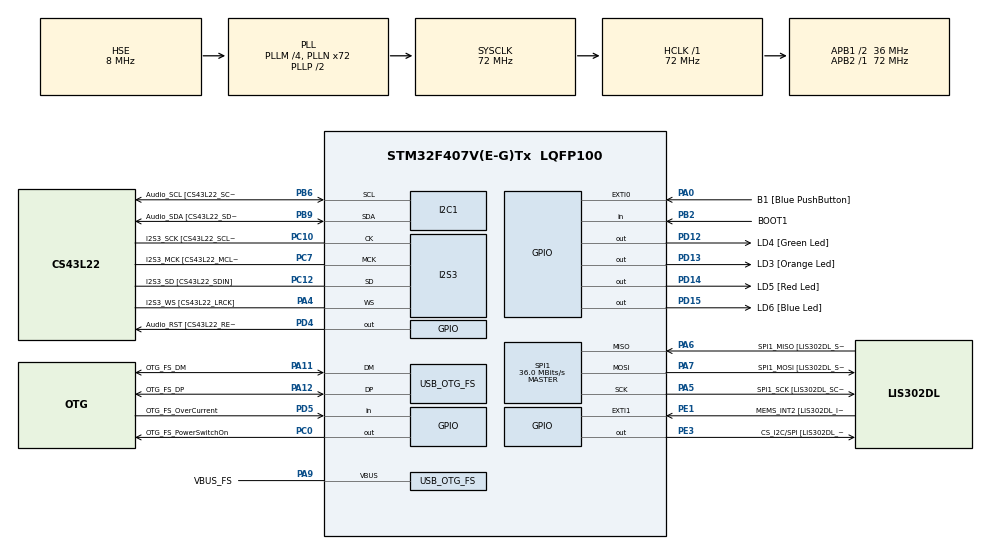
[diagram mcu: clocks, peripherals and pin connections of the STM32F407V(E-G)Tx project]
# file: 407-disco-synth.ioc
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Dma.Request0=SPI3_TX
Dma.SPI3_TX.0.Direction=DMA_MEMORY_TO_PERIPH
Dma.SPI3_TX.0.FIFOMode=DMA_FIFOMODE_DISABLE
Dma.SPI3_TX.0.Instance=DMA1_Stream5
Dma.SPI3_TX.0.MemDataAlignment=DMA_MDATAALIGN_HALFWORD
Dma.SPI3_TX.0.MemInc=DMA_MINC_ENABLE
Dma.SPI3_TX.0.Mode=DMA_CIRCULAR
Dma.SPI3_TX.0.PeriphDataAlignment=DMA_PDATAALIGN_HALFWORD
Dma.SPI3_TX.0.PeriphInc=DMA_PINC_DISABLE
Dma.SPI3_TX.0.Priority=DMA_PRIORITY_HIGH
I2S3.AudioFreq=I2S_AUDIOFREQ_48K
I2S3.AudioFreq-Half_Duplex_Master=I2S_AUDIOFREQ_96K
I2S3.ErrorAudioFreq=0.09 %
I2S3.ErrorAudioFreq-Half_Duplex_Master=0.8 %
I2S3.FullDuplexMode=I2S_FULLDUPLEXMODE_DISABLE
I2S3.Instance=SPI$Index
I2S3.RealAudioFreq=48.046 KHz
I2S3.RealAudioFreq-Half_Duplex_Master=96.774 KHz
I2S3.VirtualMode=I2S_MODE_MASTER
Mcu.Family=STM32F4
Mcu.Name=STM32F407V(E-G)Tx
Mcu.Package=LQFP100
NVIC.DMA1_Stream5_IRQn=true\:0\:0\:false\:false\:true\:false\:true
NVIC.OTG_FS_IRQn=true\:0\:0\:false\:false\:true\:true\:true
NVIC.PriorityGroup=NVIC_PRIORITYGROUP_0
PA0-WKUP.GPIO_Label=B1 [Blue PushButton]
PA0-WKUP.GPIO_ModeDefaultEXTI=GPIO_MODE_EVT_RISING
PA0-WKUP.GPIO_PuPd=GPIO_NOPULL
PA0-WKUP.Signal=GPXTI0
PA10.GPIO_Label=OTG_FS_ID
PA10.GPIO_Mode=GPIO_MODE_AF_PP
PA10.GPIO_PuPd=GPIO_NOPULL
PA10.GPIO_Speed=GPIO_SPEED_FREQ_LOW
PA10.Signal=USB_OTG_FS_ID
PA11.GPIO_Label=OTG_FS_DM
PA11.GPIO_Mode=GPIO_MODE_AF_PP
PA11.GPIO_PuPd=GPIO_NOPULL
PA11.GPIO_Speed=GPIO_SPEED_FREQ_LOW
PA11.Mode=Host_Only
PA11.Signal=USB_OTG_FS_DM
PA12.GPIO_Label=OTG_FS_DP
PA12.GPIO_Mode=GPIO_MODE_AF_PP
PA12.GPIO_PuPd=GPIO_NOPULL
PA12.GPIO_Speed=GPIO_SPEED_FREQ_LOW
PA12.Mode=Host_Only
PA12.Signal=USB_OTG_FS_DP
PA13.GPIO_Label=SWDIO
PA13.Mode=Serial_Wire
PA13.Signal=SYS_JTMS-SWDIO
PA14.GPIO_Label=SWCLK
PA14.Mode=Serial_Wire
PA14.Signal=SYS_JTCK-SWCLK
PA4.GPIO_Label=I2S3_WS [CS43L22_LRCK]
PA4.GPIO_Mode=GPIO_MODE_AF_PP
PA4.GPIO_PuPd=GPIO_NOPULL
PA4.GPIO_Speed=GPIO_SPEED_FREQ_LOW
PA4.Mode=Half_Duplex_Master
PA4.Signal=I2S3_WS
PA5.GPIO_Label=SPI1_SCK [LIS302DL_SCL/SPC]
PA5.GPIO_Mode=GPIO_MODE_AF_PP
PA5.GPIO_PuPd=GPIO_NOPULL
PA5.GPIO_Speed=GPIO_SPEED_FREQ_LOW
PA5.Mode=Full_Duplex_Master
PA5.Signal=SPI1_SCK
PA6.GPIO_Label=SPI1_MISO [LIS302DL_SDO]
PA6.GPIO_Mode=GPIO_MODE_AF_PP
PA6.GPIO_PuPd=GPIO_NOPULL
PA6.GPIO_Speed=GPIO_SPEED_FREQ_LOW
PA6.Mode=Full_Duplex_Master
PA6.Signal=SPI1_MISO
PA7.GPIO_Label=SPI1_MOSI [LIS302DL_SDA/SDI/SDO]
PA7.GPIO_Mode=GPIO_MODE_AF_PP
PA7.GPIO_PuPd=GPIO_NOPULL
PA7.GPIO_Speed=GPIO_SPEED_FREQ_LOW
PA7.Mode=Full_Duplex_Master
PA7.Signal=SPI1_MOSI
PA9.GPIO_Label=VBUS_FS
PA9.GPIO_Mode=GPIO_MODE_INPUT
PA9.GPIO_PuPd=GPIO_NOPULL
PA9.Mode=Activate_VBUS
PA9.Signal=USB_OTG_FS_VBUS
PB10.GPIO_Label=CLK_IN [MP45DT02_CLK]
PB10.GPIO_Mode=GPIO_MODE_AF_PP
PB10.GPIO_PuPd=GPIO_NOPULL
PB10.GPIO_Speed=GPIO_SPEED_FREQ_LOW
PB10.Signal=I2S2_CK
PB2.GPIO_Label=BOOT1
PB2.GPIO_Mode=GPIO_MODE_INPUT
PB2.GPIO_PuPd=GPIO_NOPULL
PB2.Signal=GPIO_Input
PB3.GPIO_Label=SWO
PB3.Signal=SYS_JTDO-SWO
PB6.GPIO_Label=Audio_SCL [CS43L22_SCL]
PB6.GPIO_Mode=GPIO_MODE_AF_OD
PB6.GPIO_Pu=GPIO_PULLUP
PB6.GPIO_PuPd=GPIO_NOPULL
PB6.GPIO_Speed=GPIO_SPEED_FREQ_LOW
PB6.Mode=I2C
PB6.Signal=I2C1_SCL
PB9.GPIO_Label=Audio_SDA [CS43L22_SDA]
PB9.GPIO_Mode=GPIO_MODE_AF_OD
PB9.GPIO_Pu=GPIO_PULLUP
PB9.GPIO_PuPd=GPIO_NOPULL
PB9.GPIO_Speed=GPIO_SPEED_FREQ_LOW
PB9.Mode=I2C
PB9.Signal=I2C1_SDA
PC0.GPIO_Label=OTG_FS_PowerSwitchOn
PC0.GPIO_PuPd=GPIO_NOPULL
PC0.GPIO_Speed=GPIO_SPEED_FREQ_LOW
PC0.PinState=GPIO_PIN_SET
PC0.Signal=GPIO_Output
PC10.GPIO_Label=I2S3_SCK [CS43L22_SCLK]
PC10.GPIO_Mode=GPIO_MODE_AF_PP
PC10.GPIO_PuPd=GPIO_NOPULL
PC10.GPIO_Speed=GPIO_SPEED_FREQ_LOW
PC10.Mode=Half_Duplex_Master
PC10.Signal=I2S3_CK
PC12.GPIO_Label=I2S3_SD [CS43L22_SDIN]
PC12.GPIO_Mode=GPIO_MODE_AF_PP
PC12.GPIO_PuPd=GPIO_NOPULL
PC12.GPIO_Speed=GPIO_SPEED_FREQ_LOW
PC12.Mode=Half_Duplex_Master
PC12.Signal=I2S3_SD
PC14-OSC32_IN.GPIO_Label=PC14-OSC32_IN
PC14-OSC32_IN.Mode=LSE-External-Oscillator
PC14-OSC32_IN.Signal=RCC_OSC32_IN
PC15-OSC32_OUT.GPIO_Label=PC15-OSC32_OUT
PC15-OSC32_OUT.Mode=LSE-External-Oscillator
PC15-OSC32_OUT.Signal=RCC_OSC32_OUT
PC3.GPIO_Label=PDM_OUT [MP45DT02_DOUT]
PC3.GPIO_Mode=GPIO_MODE_AF_PP
PC3.GPIO_PuPd=GPIO_NOPULL
PC3.GPIO_Speed=GPIO_SPEED_FREQ_LOW
PC3.Signal=I2S2_SD
PC7.GPIO_Label=I2S3_MCK [CS43L22_MCLK]
PC7.GPIO_Mode=GPIO_MODE_AF_PP
PC7.GPIO_PuPd=GPIO_NOPULL
PC7.GPIO_Speed=GPIO_SPEED_FREQ_LOW
PC7.Mode=Master_Clock_Activated
PC7.Signal=I2S3_MCK
PD12.GPIO_Label=LD4 [Green Led]
PD12.GPIO_PuPd=GPIO_NOPULL
PD12.GPIO_Speed=GPIO_SPEED_FREQ_LOW
PD12.Signal=GPIO_Output
PD13.GPIO_Label=LD3 [Orange Led]
PD13.GPIO_PuPd=GPIO_NOPULL
PD13.GPIO_Speed=GPIO_SPEED_FREQ_LOW
PD13.Signal=GPIO_Output
PD14.GPIO_Label=LD5 [Red Led]
PD14.GPIO_PuPd=GPIO_NOPULL
PD14.GPIO_Speed=GPIO_SPEED_FREQ_LOW
PD14.Signal=GPIO_Output
PD15.GPIO_Label=LD6 [Blue Led]
PD15.GPIO_PuPd=GPIO_NOPULL
PD15.GPIO_Speed=GPIO_SPEED_FREQ_LOW
PD15.Signal=GPIO_Output
PD4.GPIO_Label=Audio_RST [CS43L22_RESET]
PD4.GPIO_PuPd=GPIO_NOPULL
PD4.GPIO_Speed=GPIO_SPEED_FREQ_LOW
PD4.Signal=GPIO_Output
PD5.GPIO_Label=OTG_FS_OverCurrent
PD5.GPIO_Mode=GPIO_MODE_INPUT
PD5.GPIO_PuPd=GPIO_NOPULL
PD5.Signal=GPIO_Input
PE1.GPIO_Label=MEMS_INT2 [LIS302DL_INT2]
PE1.GPIO_ModeDefaultEXTI=GPIO_MODE_EVT_RISING
PE1.GPIO_PuPd=GPIO_NOPULL
PE1.Signal=GPXTI1
PE3.GPIO_Label=CS_I2C/SPI [LIS302DL_CS_I2C/SPI]
PE3.GPIO_PuPd=GPIO_NOPULL
PE3.GPIO_Speed=GPIO_SPEED_FREQ_LOW
PE3.Signal=GPIO_Output
PH0-OSC_IN.GPIO_Label=PH0-OSC_IN
PH0-OSC_IN.Mode=HSE-External-Oscillator
PH0-OSC_IN.Signal=RCC_OSC_IN
PH1-OSC_OUT.GPIO_Label=PH1-OSC_OUT
PH1-OSC_OUT.Mode=HSE-External-Oscillator
PH1-OSC_OUT.Signal=RCC_OSC_OUT
ProjectManager.HeapSize=0x200
ProjectManager.StackSize=0x400
ProjectManager.TargetToolchain=STM32CubeIDE
RCC.48MHZClocksFreq_Value=48000000
RCC.AHBFreq_Value=72000000
RCC.APB1CLKDivider=RCC_HCLK_DIV2
RCC.APB1Freq_Value=36000000
RCC.APB1TimFreq_Value=72000000
RCC.APB2Freq_Value=72000000
RCC.APB2TimFreq_Value=72000000
RCC.CortexFreq_Value=72000000
RCC.HCLKFreq_Value=72000000
RCC.HSE_VALUE=8000000
RCC.HSI_VALUE=16000000
RCC.PLLI2SN=123
RCC.PLLM=4
RCC.PLLN=72
RCC.PLLQ=3
RCC.SYSCLKFreq_VALUE=72000000
RCC.SYSCLKSource=RCC_SYSCLKSOURCE_PLLCLK
RCC.VCOOutputFreq_Value=144000000
SPI1.BaudRatePrescaler-Full_Duplex_Master=SPI_BAUDRATEPRESCALER_2
SPI1.CalculateBaudRate=36.0 MBits/s
SPI1.CalculateBaudRate-Full_Duplex_Master=42.0 MBits/s
SPI1.Direction=SPI_DIRECTION_2LINES
SPI1.Mode=SPI_MODE_MASTER
SPI1.Mode-Full_Duplex_Master=SPI_MODE_MASTER
SPI1.VirtualType=VM_MASTER
USB_HOST.BSP.number=1
USB_HOST.USBH_HandleTypeDef-CDC_FS=hUsbHostFS
USB_HOST.VirtualModeFS=Cdc
USB_HOST0.BSP.STBoard=false
USB_HOST0.BSP.api=Unknown
USB_HOST0.BSP.i2caddr=0
USB_HOST0.BSP.i2creg=0
USB_HOST0.BSP.instance=PC0
USB_HOST0.BSP.ip=GPIO
USB_HOST0.BSP.mode=Output
USB_HOST0.BSP.name=Drive_VBUS_FS
USB_HOST0.BSP.solution=PC0
USB_OTG_FS.VirtualMode=Host_Only
USB_OTG_FS.phy_itface=HCD_PHY_EMBEDDED
VP_USB_HOST_VS_USB_HOST_CDC_FS.Mode=CDC_FS
board=STM32F407G-DISC1

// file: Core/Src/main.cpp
/* USER CODE BEGIN Header */
/**
  ******************************************************************************
  * @file           : main.c
  * @brief          : Main program body
  ******************************************************************************
  * @attention
  *
  * Copyright (c) 2022 STMicroelectronics.
  * All rights reserved.
  *
  * This software is licensed under terms that can be found in the LICENSE file
  * in the root directory of this software component.
  * If no LICENSE file comes with this software, it is provided AS-IS.
  *
  ******************************************************************************
  */
/* USER CODE END Header */
#include "main.h"
#include "usb_host.h"

/* USER CODE BEGIN Includes */
#include "Codec.h"
#include "Synth.h"
/* USER CODE END Includes */

I2C_HandleTypeDef hi2c1;

I2S_HandleTypeDef hi2s3;
DMA_HandleTypeDef hdma_spi3_tx;

SPI_HandleTypeDef hspi1;

void SystemClock_Config(void);
static void MX_GPIO_Init(void);
static void MX_I2C1_Init(void);
static void MX_I2S3_Init(void);
static void MX_SPI1_Init(void);
static void MX_DMA_Init(void);
void MX_USB_HOST_Process(void);

/* USER CODE BEGIN PFP */

//END CODEC CLASS
/* USER CODE END PFP */

/* USER CODE BEGIN 0 */

//CODEC CLASS
class Codec {
public:
	Codec();
	virtual ~Codec();

	uint8_t init();
private:
	uint8_t write(uint8_t reg, uint8_t val);
};

Codec::Codec() {
	// TODO Auto-generated constructor stub

}

Codec::~Codec() {
	// TODO Auto-generated destructor stub
}

uint8_t Codec::init(){
	uint8_t status = 0;
	HAL_GPIO_WritePin(Audio_RST_GPIO_Port, Audio_RST_Pin, GPIO_PIN_SET);
	status += write(0x04, 0xaf);
	status += write(0x06, 0x07);
	status += write(0x02, 0x9e);

	return status;
}

uint8_t Codec::write(uint8_t reg, uint8_t val){
	HAL_StatusTypeDef status = HAL_OK;

	status = HAL_I2C_Mem_Write(&hi2c1, AUDIO_I2C_ADDR, reg, 1, &val, sizeof(val), HAL_MAX_DELAY);
	if (status != HAL_OK)
		return 1;
	return 0;
}

Codec codec;
Synth synth;

int16_t audiobuff[BUFF_LEN];

void make_sound(uint16_t start_index){
	for (uint16_t i = 0; i < BUFF_LEN_DIV2; i++){
		float signal = synth.calculate_oscillator();
		audiobuff[start_index + i] = (int16_t)signal;
		audiobuff[start_index + i + 1] = (int16_t)signal;
	}
}

void HAL_I2S_TxHalfCpltCallback(I2S_HandleTypeDef *hi2s)
{
	make_sound(0);
}

void HAL_I2S_TxCpltCallback(I2S_HandleTypeDef *hi2s)
{
	make_sound(BUFF_LEN_DIV2);
}

/* USER CODE END 0 */

int main(void)
{
  /* USER CODE BEGIN 1 */
	synth.pitch = 220.0f;
  /* USER CODE END 1 */

  /* MCU Configuration--------------------------------------------------------*/

  /* Reset of all peripherals, Initializes the Flash interface and the Systick. */
  HAL_Init();

  /* Configure the system clock */
  SystemClock_Config();

  /* Initialize all configured peripherals */
  MX_GPIO_Init();
  MX_I2C1_Init();
  MX_I2S3_Init();
  MX_SPI1_Init();
  MX_DMA_Init();
  MX_USB_HOST_Init();
  /* USER CODE BEGIN 2 */
  uint8_t status = codec.init();
  if(status != 0){
	  return HAL_ERROR;
  }
  HAL_I2S_Transmit_DMA(&hi2s3, (uint16_t *)audiobuff, BUFF_LEN);
  /* USER CODE END 2 */

  /* Infinite loop */
  while (1)
  {
    MX_USB_HOST_Process();
	HAL_GPIO_TogglePin (GPIOD, GPIO_PIN_13);
	HAL_Delay (100);

  }
}

void SystemClock_Config(void)
{
  RCC_OscInitTypeDef RCC_OscInitStruct = {0};
  RCC_ClkInitTypeDef RCC_ClkInitStruct = {0};

  /** Configure the main internal regulator output voltage
  */
  __HAL_RCC_PWR_CLK_ENABLE();
  __HAL_PWR_VOLTAGESCALING_CONFIG(PWR_REGULATOR_VOLTAGE_SCALE1);
  /** Initializes the RCC Oscillators according to the specified parameters
  * in the RCC_OscInitTypeDef structure.
  */
  RCC_OscInitStruct.OscillatorType = RCC_OSCILLATORTYPE_HSE;
  RCC_OscInitStruct.HSEState = RCC_HSE_ON;
  RCC_OscInitStruct.PLL.PLLState = RCC_PLL_ON;
  RCC_OscInitStruct.PLL.PLLSource = RCC_PLLSOURCE_HSE;
  RCC_OscInitStruct.PLL.PLLM = 4;
  RCC_OscInitStruct.PLL.PLLN = 72;
  RCC_OscInitStruct.PLL.PLLP = RCC_PLLP_DIV2;
  RCC_OscInitStruct.PLL.PLLQ = 3;
  if (HAL_RCC_OscConfig(&RCC_OscInitStruct) != HAL_OK)
  {
    Error_Handler();
  }
  /** Initializes the CPU, AHB and APB buses clocks
  */
  RCC_ClkInitStruct.ClockType = RCC_CLOCKTYPE_HCLK|RCC_CLOCKTYPE_SYSCLK
                              |RCC_CLOCKTYPE_PCLK1|RCC_CLOCKTYPE_PCLK2;
  RCC_ClkInitStruct.SYSCLKSource = RCC_SYSCLKSOURCE_PLLCLK;
  RCC_ClkInitStruct.AHBCLKDivider = RCC_SYSCLK_DIV1;
  RCC_ClkInitStruct.APB1CLKDivider = RCC_HCLK_DIV2;
  RCC_ClkInitStruct.APB2CLKDivider = RCC_HCLK_DIV1;

  if (HAL_RCC_ClockConfig(&RCC_ClkInitStruct, FLASH_LATENCY_2) != HAL_OK)
  {
    Error_Handler();
  }
}

static void MX_I2C1_Init(void)
{

  hi2c1.Instance = I2C1;
  hi2c1.Init.ClockSpeed = 100000;
  hi2c1.Init.DutyCycle = I2C_DUTYCYCLE_2;
  hi2c1.Init.OwnAddress1 = 0;
  hi2c1.Init.AddressingMode = I2C_ADDRESSINGMODE_7BIT;
  hi2c1.Init.DualAddressMode = I2C_DUALADDRESS_DISABLE;
  hi2c1.Init.OwnAddress2 = 0;
  hi2c1.Init.GeneralCallMode = I2C_GENERALCALL_DISABLE;
  hi2c1.Init.NoStretchMode = I2C_NOSTRETCH_DISABLE;
  if (HAL_I2C_Init(&hi2c1) != HAL_OK)
  {
    Error_Handler();
  }

}

static void MX_I2S3_Init(void)
{

  hi2s3.Instance = SPI3;
  hi2s3.Init.Mode = I2S_MODE_MASTER_TX;
  hi2s3.Init.Standard = I2S_STANDARD_PHILIPS;
  hi2s3.Init.DataFormat = I2S_DATAFORMAT_16B;
  hi2s3.Init.MCLKOutput = I2S_MCLKOUTPUT_ENABLE;
  hi2s3.Init.AudioFreq = I2S_AUDIOFREQ_48K;
  hi2s3.Init.CPOL = I2S_CPOL_LOW;
  hi2s3.Init.ClockSource = I2S_CLOCK_PLL;
  hi2s3.Init.FullDuplexMode = I2S_FULLDUPLEXMODE_DISABLE;
  if (HAL_I2S_Init(&hi2s3) != HAL_OK)
  {
    Error_Handler();
  }

}

static void MX_SPI1_Init(void)
{

  /* SPI1 parameter configuration*/
  hspi1.Instance = SPI1;
  hspi1.Init.Mode = SPI_MODE_MASTER;
  hspi1.Init.Direction = SPI_DIRECTION_2LINES;
  hspi1.Init.DataSize = SPI_DATASIZE_8BIT;
  hspi1.Init.CLKPolarity = SPI_POLARITY_LOW;
  hspi1.Init.CLKPhase = SPI_PHASE_1EDGE;
  hspi1.Init.NSS = SPI_NSS_SOFT;
  hspi1.Init.BaudRatePrescaler = SPI_BAUDRATEPRESCALER_2;
  hspi1.Init.FirstBit = SPI_FIRSTBIT_MSB;
  hspi1.Init.TIMode = SPI_TIMODE_DISABLE;
  hspi1.Init.CRCCalculation = SPI_CRCCALCULATION_DISABLE;
  hspi1.Init.CRCPolynomial = 10;
  if (HAL_SPI_Init(&hspi1) != HAL_OK)
  {
    Error_Handler();
  }

}

static void MX_DMA_Init(void)
{

  /* DMA controller clock enable */
  __HAL_RCC_DMA1_CLK_ENABLE();

  /* DMA interrupt init */
  /* DMA1_Stream5_IRQn interrupt configuration */
  HAL_NVIC_SetPriority(DMA1_Stream5_IRQn, 0, 0);
  HAL_NVIC_EnableIRQ(DMA1_Stream5_IRQn);

}

static void MX_GPIO_Init(void)
{
  GPIO_InitTypeDef GPIO_InitStruct = {0};

  /* GPIO Ports Clock Enable */
  __HAL_RCC_GPIOE_CLK_ENABLE();
  __HAL_RCC_GPIOC_CLK_ENABLE();
  __HAL_RCC_GPIOH_CLK_ENABLE();
  __HAL_RCC_GPIOA_CLK_ENABLE();
  __HAL_RCC_GPIOB_CLK_ENABLE();
  __HAL_RCC_GPIOD_CLK_ENABLE();

  /*Configure GPIO pin Output Level */
  HAL_GPIO_WritePin(CS_I2C_SPI_GPIO_Port, CS_I2C_SPI_Pin, GPIO_PIN_RESET);

  /*Configure GPIO pin Output Level */
  HAL_GPIO_WritePin(OTG_FS_PowerSwitchOn_GPIO_Port, OTG_FS_PowerSwitchOn_Pin, GPIO_PIN_SET);

  /*Configure GPIO pin Output Level */
  HAL_GPIO_WritePin(GPIOD, LD4_Pin|LD3_Pin|LD5_Pin|LD6_Pin
                          |Audio_RST_Pin, GPIO_PIN_RESET);

  /*Configure GPIO pin : CS_I2C_SPI_Pin */
  GPIO_InitStruct.Pin = CS_I2C_SPI_Pin;
  GPIO_InitStruct.Mode = GPIO_MODE_OUTPUT_PP;
  GPIO_InitStruct.Pull = GPIO_NOPULL;
  GPIO_InitStruct.Speed = GPIO_SPEED_FREQ_LOW;
  HAL_GPIO_Init(CS_I2C_SPI_GPIO_Port, &GPIO_InitStruct);

  /*Configure GPIO pin : OTG_FS_PowerSwitchOn_Pin */
  GPIO_InitStruct.Pin = OTG_FS_PowerSwitchOn_Pin;
  GPIO_InitStruct.Mode = GPIO_MODE_OUTPUT_PP;
  GPIO_InitStruct.Pull = GPIO_NOPULL;
  GPIO_InitStruct.Speed = GPIO_SPEED_FREQ_LOW;
  HAL_GPIO_Init(OTG_FS_PowerSwitchOn_GPIO_Port, &GPIO_InitStruct);

  /*Configure GPIO pin : PDM_OUT_Pin */
  GPIO_InitStruct.Pin = PDM_OUT_Pin;
  GPIO_InitStruct.Mode = GPIO_MODE_AF_PP;
  GPIO_InitStruct.Pull = GPIO_NOPULL;
  GPIO_InitStruct.Speed = GPIO_SPEED_FREQ_LOW;
  GPIO_InitStruct.Alternate = GPIO_AF5_SPI2;
  HAL_GPIO_Init(PDM_OUT_GPIO_Port, &GPIO_InitStruct);

  /*Configure GPIO pin : B1_Pin */
  GPIO_InitStruct.Pin = B1_Pin;
  GPIO_InitStruct.Mode = GPIO_MODE_EVT_RISING;
  GPIO_InitStruct.Pull = GPIO_NOPULL;
  HAL_GPIO_Init(B1_GPIO_Port, &GPIO_InitStruct);

  /*Configure GPIO pin : BOOT1_Pin */
  GPIO_InitStruct.Pin = BOOT1_Pin;
  GPIO_InitStruct.Mode = GPIO_MODE_INPUT;
  GPIO_InitStruct.Pull = GPIO_NOPULL;
  HAL_GPIO_Init(BOOT1_GPIO_Port, &GPIO_InitStruct);

  /*Configure GPIO pin : CLK_IN_Pin */
  GPIO_InitStruct.Pin = CLK_IN_Pin;
  GPIO_InitStruct.Mode = GPIO_MODE_AF_PP;
  GPIO_InitStruct.Pull = GPIO_NOPULL;
  GPIO_InitStruct.Speed = GPIO_SPEED_FREQ_LOW;
  GPIO_InitStruct.Alternate = GPIO_AF5_SPI2;
  HAL_GPIO_Init(CLK_IN_GPIO_Port, &GPIO_InitStruct);

  /*Configure GPIO pins : LD4_Pin LD3_Pin LD5_Pin LD6_Pin
                           Audio_RST_Pin */
  GPIO_InitStruct.Pin = LD4_Pin|LD3_Pin|LD5_Pin|LD6_Pin
                          |Audio_RST_Pin;
  GPIO_InitStruct.Mode = GPIO_MODE_OUTPUT_PP;
  GPIO_InitStruct.Pull = GPIO_NOPULL;
  GPIO_InitStruct.Speed = GPIO_SPEED_FREQ_LOW;
  HAL_GPIO_Init(GPIOD, &GPIO_InitStruct);

  /*Configure GPIO pin : OTG_FS_OverCurrent_Pin */
  GPIO_InitStruct.Pin = OTG_FS_OverCurrent_Pin;
  GPIO_InitStruct.Mode = GPIO_MODE_INPUT;
  GPIO_InitStruct.Pull = GPIO_NOPULL;
  HAL_GPIO_Init(OTG_FS_OverCurrent_GPIO_Port, &GPIO_InitStruct);

  /*Configure GPIO pin : MEMS_INT2_Pin */
  GPIO_InitStruct.Pin = MEMS_INT2_Pin;
  GPIO_InitStruct.Mode = GPIO_MODE_EVT_RISING;
  GPIO_InitStruct.Pull = GPIO_NOPULL;
  HAL_GPIO_Init(MEMS_INT2_GPIO_Port, &GPIO_InitStruct);

}

void Error_Handler(void)
{
  __disable_irq();
  while (1)
  {
  }
}
